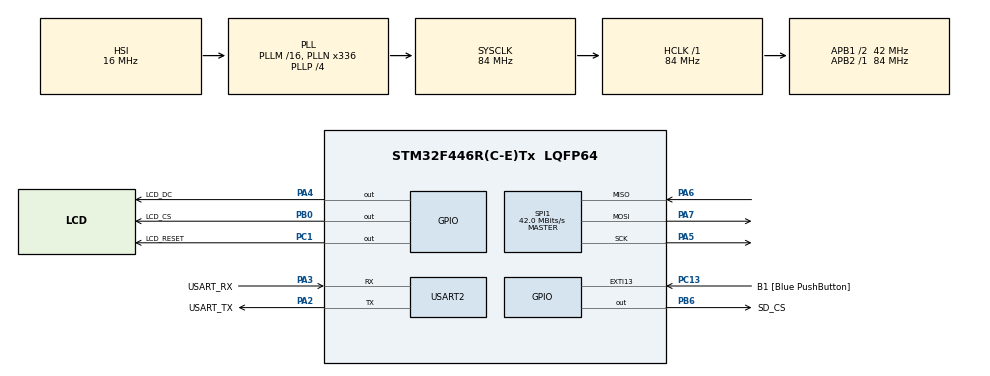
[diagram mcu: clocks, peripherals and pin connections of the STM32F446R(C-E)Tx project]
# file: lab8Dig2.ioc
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Mcu.Family=STM32F4
Mcu.Name=STM32F446R(C-E)Tx
Mcu.Package=LQFP64
NVIC.PriorityGroup=NVIC_PRIORITYGROUP_0
PA13.GPIO_Label=TMS
PA13.Mode=Serial_Wire
PA13.Signal=SYS_JTMS-SWDIO
PA14.GPIO_Label=TCK
PA14.Mode=Serial_Wire
PA14.Signal=SYS_JTCK-SWCLK
PA2.GPIO_Label=USART_TX
PA2.Mode=Asynchronous
PA2.Signal=USART2_TX
PA3.GPIO_Label=USART_RX
PA3.Mode=Asynchronous
PA3.Signal=USART2_RX
PA4.GPIO_Label=LCD_DC
PA4.GPIO_Speed=GPIO_SPEED_FREQ_MEDIUM
PA4.Signal=GPIO_Output
PA5.Mode=Full_Duplex_Master
PA5.Signal=SPI1_SCK
PA6.Mode=Full_Duplex_Master
PA6.Signal=SPI1_MISO
PA7.Mode=Full_Duplex_Master
PA7.Signal=SPI1_MOSI
PB0.GPIO_Label=LCD_CS
PB0.GPIO_Speed=GPIO_SPEED_FREQ_MEDIUM
PB0.Signal=GPIO_Output
PB3.GPIO_Label=SWO
PB3.Signal=SYS_JTDO-SWO
PB6.GPIO_Label=SD_CS
PB6.GPIO_Speed=GPIO_SPEED_FREQ_MEDIUM
PB6.Signal=GPIO_Output
PC1.GPIO_Label=LCD_RESET
PC1.GPIO_Speed=GPIO_SPEED_FREQ_MEDIUM
PC1.Signal=GPIO_Output
PC13.GPIO_Label=B1 [Blue PushButton]
PC13.GPIO_ModeDefaultEXTI=GPIO_MODE_IT_FALLING
PC13.Signal=GPXTI13
PC14-OSC32_IN.Mode=LSE-External-Oscillator
PC14-OSC32_IN.Signal=RCC_OSC32_IN
PC15-OSC32_OUT.Mode=LSE-External-Oscillator
PC15-OSC32_OUT.Signal=RCC_OSC32_OUT
PH0-OSC_IN.Mode=HSE-External-Oscillator
PH0-OSC_IN.Signal=RCC_OSC_IN
PH1-OSC_OUT.Mode=HSE-External-Oscillator
PH1-OSC_OUT.Signal=RCC_OSC_OUT
ProjectManager.HeapSize=0x200
ProjectManager.StackSize=0x400
ProjectManager.TargetToolchain=STM32CubeIDE
RCC.48MHZClocksFreq_Value=84000000
RCC.AHBFreq_Value=84000000
RCC.APB1CLKDivider=RCC_HCLK_DIV2
RCC.APB1Freq_Value=42000000
RCC.APB1TimFreq_Value=84000000
RCC.APB2Freq_Value=84000000
RCC.APB2TimFreq_Value=84000000
RCC.CortexFreq_Value=84000000
RCC.FLatency-AdvancedSettings=FLASH_LATENCY_2
RCC.HCLKFreq_Value=84000000
RCC.HSE_VALUE=8000000
RCC.HSI_VALUE=16000000
RCC.PLLN=336
RCC.PLLP=RCC_PLLP_DIV4
RCC.SYSCLKFreq_VALUE=84000000
RCC.SYSCLKSource=RCC_SYSCLKSOURCE_PLLCLK
RCC.USBFreq_Value=168000000
RCC.VCOOutputFreq_Value=336000000
SPI1.BaudRatePrescaler=SPI_BAUDRATEPRESCALER_2
SPI1.CalculateBaudRate=42.0 MBits/s
SPI1.Direction=SPI_DIRECTION_2LINES
SPI1.Mode=SPI_MODE_MASTER
SPI1.VirtualType=VM_MASTER
USART2.VirtualMode=VM_ASYNC
board=NUCLEO-F446RE

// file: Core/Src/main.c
/* USER CODE BEGIN Header */
/**
 ******************************************************************************
 * @file           : main.c
 * @brief          : Main program body
 ******************************************************************************
 * @attention
 *
 * Copyright (c) 2024 STMicroelectronics.
 * All rights reserved.
 *
 * This software is licensed under terms that can be found in the LICENSE file
 * in the root directory of this software component.
 * If no LICENSE file comes with this software, it is provided AS-IS.
 *
 ******************************************************************************
 */
/* USER CODE END Header */
#include "main.h"

/* USER CODE BEGIN Includes */
#include "ili9341.h"

/* USER CODE END Includes */

SPI_HandleTypeDef hspi1;

UART_HandleTypeDef huart2;

void SystemClock_Config(void);
static void MX_GPIO_Init(void);
static void MX_USART2_UART_Init(void);
static void MX_SPI1_Init(void);

int main(void)
{

  /* MCU Configuration--------------------------------------------------------*/

  /* Reset of all peripherals, Initializes the Flash interface and the Systick. */
  HAL_Init();

  /* Configure the system clock */
  SystemClock_Config();

  /* Initialize all configured peripherals */
  MX_GPIO_Init();
  MX_USART2_UART_Init();
  MX_SPI1_Init();
  /* USER CODE BEGIN 2 */
	LCD_Init(); //inicializar la pantalla

	LCD_Clear(0x0000);  // Fondo negro

	FillRect(0, 0, 320, 28, 0x52ab);

	// x=0, y=0
	// ancho=320, alto=28
	// color=0x52ab: gris

	LCD_Print("OXI-PULSE", 8, 8, 1, 0x07FF, 0x52ab);

	// x=8, y=8
	// tamaño=1
	// color=0x07FF: cian
	// fondo=0x52ab: gris

	FillRect(238, 10, 8, 8, 0x07E0);
	LCD_Print("NORMAL", 250, 8, 1, 0x07E0, 0x52ab);

	LCD_Print("%SpO2", 25, 45, 1, 0xFFFF, 0x0000);
	LCD_Print("98%", 20, 70, 3, 0x07FF, 0x0000);

	LCD_Print("PR", 190, 45, 1, 0xFFFF, 0x0000);
	LCD_Print("72", 185, 70, 3, 0x07E0, 0x0000);
	LCD_Print("BPM", 250, 84, 2, 0xFFFF, 0x0000);

	// Gota
	#define IMAGE_WGOTA  24
	#define IMAGE_HGOTA 20

	// 24 x 20 RGB565, 480 pixels, 960 bytes
	const uint16_t image_gota[] = {
	  0x0000, 0x0000, 0x0000, 0x0000, 0x0000, 0x0000, 0x0000, 0x0000,
	  0x0000, 0x0000, 0x0000, 0x0000, 0x0000, 0x0000, 0x0000, 0x0000,
	  0x0000, 0x0000, 0x0000, 0x0000, 0x0000, 0x0000, 0x0000, 0x0000,
	  0x0000, 0x0000, 0x0000, 0x0000, 0x0000, 0x0000, 0x0000, 0x0000,
	  0x0000, 0x0000, 0x0000, 0x18A2, 0x1082, 0x0000, 0x0000, 0x0000,
	  0x0000, 0x0000, 0x0000, 0x0000, 0x0000, 0x0000, 0x0000, 0x0000,
	  0x0000, 0x0000, 0x0000, 0x0000, 0x0000, 0x0000, 0x0000, 0x0000,
	  0x0000, 0x0000, 0x0000, 0x18C3, 0x10A2, 0x0000, 0x0000, 0x0000,
	  0x0000, 0x0000, 0x0000, 0x0000, 0x0000, 0x0000, 0x0000, 0x0000,
	  0x0000, 0x0000, 0x0000, 0x0000, 0x0000, 0x0000, 0x0000, 0x0000,
	  0x0000, 0x0000, 0x0000, 0x1946, 0x1905, 0x0000, 0x0000, 0x0000,
	  0x0000, 0x0000, 0x0000, 0x0000, 0x0000, 0x0000, 0x0000, 0x0000,
	  0x0000, 0x0000, 0x0000, 0x0000, 0x0000, 0x0000, 0x0000, 0x0000,
	  0x0000, 0x0000, 0x10A2, 0x2BB5, 0x2B32, 0x1082, 0x0000, 0x0000,
	  0x0000, 0x0000, 0x0000, 0x0000, 0x0000, 0x0000, 0x0000, 0x0000,
	  0x0000, 0x0000, 0x0000, 0x0000, 0x0000, 0x0000, 0x0000, 0x0000,
	  0x0000, 0x0000, 0x10A2, 0x2BB5, 0x2B32, 0x1082, 0x0000, 0x0000,
	  0x0000, 0x0000, 0x0000, 0x0000, 0x0000, 0x0000, 0x0000, 0x0000,
	  0x0000, 0x0000, 0x0000, 0x0000, 0x0000, 0x0000, 0x0000, 0x0000,
	  0x0000, 0x10C3, 0x226D, 0x2BF7, 0x2BD6, 0x224D, 0x10A2, 0x0000,
	  0x0000, 0x0000, 0x0000, 0x0000, 0x0000, 0x0000, 0x0000, 0x0000,
	  0x0000, 0x0000, 0x0000, 0x0000, 0x0000, 0x0000, 0x0000, 0x0000,
	  0x0020, 0x2125, 0x2312, 0x2CFA, 0x2CDA, 0x22F1, 0x18E3, 0x0000,
	  0x0000, 0x0000, 0x0000, 0x0000, 0x0000, 0x0000, 0x0000, 0x0000,
	  0x0000, 0x0000, 0x0000, 0x0000, 0x0000, 0x0000, 0x0000, 0x0020,
	  0x1946, 0x2BF7, 0x2D1A, 0x35BC, 0x35BC, 0x2CFA, 0x2B74, 0x1925,
	  0x0000, 0x0000, 0x0000, 0x0000, 0x0000, 0x0000, 0x0000, 0x0000,
	  0x0000, 0x0000, 0x0000, 0x0000, 0x0000, 0x0000, 0x0000, 0x0041,
	  0x2187, 0x2C38, 0x353B, 0x5E1B, 0x55FC, 0x353B, 0x2BD5, 0x2166,
	  0x0020, 0x0000, 0x0000, 0x0000, 0x0000, 0x0000, 0x0000, 0x0000,
	  0x0000, 0x0000, 0x0000, 0x0000, 0x0000, 0x0000, 0x1082, 0x2188,
	  0x2C17, 0x2C79, 0x355B, 0x5E1C, 0x661B, 0x55FC, 0x357C, 0x2C38,
	  0x1925, 0x0861, 0x0000, 0x0000, 0x0000, 0x0000, 0x0000, 0x0000,
	  0x0000, 0x0000, 0x0000, 0x0000, 0x0000, 0x0841, 0x19A9, 0x22D0,
	  0x2C58, 0x35BC, 0x45DC, 0x7E7C, 0x7E7C, 0x6E5C, 0x45DC, 0x34FA,
	  0x22AF, 0x1967, 0x0020, 0x0000, 0x0000, 0x0000, 0x0000, 0x0000,
	  0x0000, 0x0000, 0x0000, 0x0000, 0x0000, 0x1082, 0x22D0, 0x3C78,
	  0x7DBB, 0x35BC, 0x561C, 0x96BD, 0x9EBD, 0x869C, 0x5E1C, 0x35BC,
	  0x2C38, 0x226D, 0x0861, 0x0000, 0x0000, 0x0000, 0x0000, 0x0000,
	  0x0000, 0x0000, 0x0000, 0x0000, 0x0000, 0x1082, 0x22D0, 0x54D9,
	  0xE79F, 0x3DBC, 0x561C, 0x6E3C, 0x6E3C, 0x6E3C, 0x5E1C, 0x35BC,
	  0x2C17, 0x226D, 0x0861, 0x0000, 0x0000, 0x0000, 0x0000, 0x0000,
	  0x0000, 0x0000, 0x0000, 0x0000, 0x0000, 0x0000, 0x10E4, 0x2A0A,
	  0x5D1A, 0xD77E, 0x6E5D, 0x3DDC, 0x3DDC, 0x3DBC, 0x359C, 0x2C79,
	  0x21A8, 0x10A3, 0x0000, 0x0000, 0x0000, 0x0000, 0x0000, 0x0000,
	  0x0000, 0x0000, 0x0000, 0x0000, 0x0000, 0x0000, 0x1081, 0x1967,
	  0x2BB5, 0x4436, 0xA63B, 0xD73E, 0xA6BD, 0x2CFA, 0x2BD6, 0x23B5,
	  0x1905, 0x0841, 0x0000, 0x0000, 0x0000, 0x0000, 0x0000, 0x0000,
	  0x0000, 0x0000, 0x0000, 0x0000, 0x0000, 0x0000, 0x0000, 0x0000,
	  0x10A2, 0x18E3, 0x226E, 0x2333, 0x2353, 0x224D, 0x10C3, 0x10A2,
	  0x0000, 0x0000, 0x0000, 0x0000, 0x0000, 0x0000, 0x0000, 0x0000,
	  0x0000, 0x0000, 0x0000, 0x0000, 0x0000, 0x0000, 0x0000, 0x0000,
	  0x0000, 0x0000, 0x0861, 0x10A2, 0x10A2, 0x0861, 0x0000, 0x0000,
	  0x0000, 0x0000, 0x0000, 0x0000, 0x0000, 0x0000, 0x0000, 0x0000,
	  0x0000, 0x0000, 0x0000, 0x0000, 0x0000, 0x0000, 0x0000, 0x0000,
	  0x0000, 0x0000, 0x0000, 0x0000, 0x0000, 0x0000, 0x0000, 0x0000,
	  0x0000, 0x0000, 0x0000, 0x0000, 0x0000, 0x0000, 0x0000, 0x0000,
	  0x0000, 0x0000, 0x0000, 0x0000, 0x0000, 0x0000, 0x0000, 0x0000,
	  0x0000, 0x0000, 0x0000, 0x0000, 0x0000, 0x0000, 0x0000, 0x0000,
	  0x0000, 0x0000, 0x0000, 0x0000, 0x0000, 0x0000, 0x0000, 0x0000
	};

	LCD_Bitmap(70, 42, IMAGE_WGOTA, IMAGE_HGOTA, image_gota);

	// Corazón
	#define IMAGE_WHEART  24
	#define IMAGE_HHEART 20

	// 24 x 20 RGB565, 480 pixels, 960 bytes
	const uint16_t image_heart[] = {
			0x0000, 0x0000, 0x0000, 0x0000, 0x0000, 0x0000, 0x0000, 0x0000,
			  0x0000, 0x0000, 0x0000, 0x0000, 0x0000, 0x0000, 0x0000, 0x0000,
			  0x0000, 0x0000, 0x0000, 0x0000, 0x0000, 0x0000, 0x0000, 0x0000,
			  0x0000, 0x0000, 0x0000, 0x0000, 0x0000, 0x0000, 0x0000, 0x0000,
			  0x0000, 0x0000, 0x0000, 0x0000, 0x0000, 0x0000, 0x0000, 0x0000,
			  0x0000, 0x0000, 0x0000, 0x0000, 0x0000, 0x0000, 0x0000, 0x0000,
			  0x0000, 0x0000, 0x0000, 0x0000, 0x0000, 0x5002, 0x6803, 0x6803,
			  0x6803, 0x6003, 0x0000, 0x0000, 0x0000, 0x0000, 0x2001, 0x6803,
			  0x6803, 0x5803, 0x3803, 0x0800, 0x0000, 0x0000, 0x0000, 0x0000,
			  0x0000, 0x0000, 0x0000, 0x0800, 0x2801, 0x88E7, 0xA908, 0xA8A7,
			  0xA887, 0xA086, 0x2001, 0x0800, 0x0000, 0x2000, 0x5002, 0xA004,
			  0x9804, 0x8004, 0x5804, 0x2001, 0x1000, 0x0000, 0x0000, 0x0000,
			  0x0000, 0x0000, 0x0000, 0x2001, 0x8804, 0xE310, 0xFB92, 0xFA2D,
			  0xFA0D, 0xF1EC, 0x8804, 0x2001, 0x1000, 0x7803, 0xA804, 0xE004,
			  0xC803, 0xA004, 0x8004, 0x5804, 0x3803, 0x0000, 0x0000, 0x0000,
			  0x0000, 0x0000, 0x3801, 0x6885, 0xCA4D, 0xEACF, 0xFAAF, 0xFA2D,
			  0xF16A, 0xE8C7, 0xB804, 0x7002, 0x5802, 0xB004, 0xC804, 0xE004,
			  0xC803, 0xA804, 0x8804, 0x7804, 0x6003, 0x3002, 0x0800, 0x0000,
			  0x0000, 0x0000, 0x6003, 0xA908, 0xFBF3, 0xFA8F, 0xFA0D, 0xFA0D,
			  0xE8E8, 0xE004, 0xE004, 0xA004, 0x9804, 0xD804, 0xE004, 0xE004,
			  0xC803, 0xA804, 0x8804, 0x8804, 0x7804, 0x5004, 0x1000, 0x0000,
			  0x0000, 0x0000, 0x6003, 0xA086, 0xFA2D, 0xFA0D, 0xF18B, 0xE025,
			  0xE004, 0xE004, 0xE004, 0xE004, 0xE004, 0xE004, 0xE004, 0xE004,
			  0xC803, 0xA804, 0x8804, 0x8804, 0x7804, 0x5004, 0x1000, 0x0000,
			  0x0000, 0x0000, 0x6003, 0xA886, 0xFA0D, 0xF129, 0xE8A7, 0xE004,
			  0xE004, 0xE004, 0xE004, 0xE004, 0xE004, 0xE004, 0xE004, 0xE004,
			  0xC803, 0xA804, 0x8804, 0x8804, 0x7804, 0x5004, 0x1000, 0x0000,
			  0x0000, 0x0000, 0x5802, 0x9866, 0xE9CC, 0xE066, 0xE004, 0xE004,
			  0xE004, 0xE004, 0xE004, 0xE004, 0xE004, 0xE004, 0xE004, 0xE004,
			  0xC003, 0xA004, 0x8804, 0x8004, 0x7004, 0x4803, 0x1000, 0x0000,
			  0x0000, 0x0000, 0x1000, 0x3802, 0xA045, 0xD004, 0xE004, 0xE004,
			  0xE004, 0xE004, 0xE004, 0xE004, 0xE004, 0xE004, 0xD804, 0xC803,
			  0x9804, 0x9004, 0x8004, 0x6004, 0x4803, 0x1000, 0x0000, 0x0000,
			  0x0000, 0x0000, 0x0000, 0x1800, 0x6803, 0xB004, 0xD004, 0xE004,
			  0xE004, 0xE004, 0xE004, 0xE004, 0xE004, 0xD804, 0xC804, 0xB003,
			  0x8804, 0x8004, 0x7804, 0x4803, 0x2802, 0x0000, 0x0000, 0x0000,
			  0x0000, 0x0000, 0x0000, 0x0000, 0x0000, 0x6803, 0x9804, 0xE004,
			  0xE004, 0xE004, 0xE004, 0xE004, 0xE004, 0xC803, 0xB004, 0x8804,
			  0x8804, 0x7004, 0x5003, 0x0800, 0x0000, 0x0000, 0x0000, 0x0000,
			  0x0000, 0x0000, 0x0000, 0x0000, 0x0000, 0x0800, 0x2801, 0x8803,
			  0xC004, 0xE004, 0xE004, 0xD003, 0xC003, 0x9804, 0x9004, 0x8804,
			  0x5804, 0x3002, 0x0800, 0x0000, 0x0000, 0x0000, 0x0000, 0x0000,
			  0x0000, 0x0000, 0x0000, 0x0000, 0x0000, 0x0000, 0x1000, 0x5802,
			  0x9803, 0xC804, 0xD804, 0xB803, 0xA803, 0x9004, 0x8004, 0x7804,
			  0x4003, 0x1801, 0x0000, 0x0000, 0x0000, 0x0000, 0x0000, 0x0000,
			  0x0000, 0x0000, 0x0000, 0x0000, 0x0000, 0x0000, 0x0000, 0x0000,
			  0x4802, 0x9004, 0xC003, 0x9804, 0x8804, 0x8804, 0x7004, 0x5004,
			  0x0800, 0x0000, 0x0000, 0x0000, 0x0000, 0x0000, 0x0000, 0x0000,
			  0x0000, 0x0000, 0x0000, 0x0000, 0x0000, 0x0000, 0x0000, 0x0000,
			  0x1800, 0x4001, 0xA003, 0x9004, 0x8004, 0x6804, 0x5003, 0x2001,
			  0x0000, 0x0000, 0x0000, 0x0000, 0x0000, 0x0000, 0x0000, 0x0000,
			  0x0000, 0x0000, 0x0000, 0x0000, 0x0000, 0x0000, 0x0000, 0x0000,
			  0x0000, 0x0000, 0x8003, 0x8004, 0x8004, 0x5004, 0x3002, 0x0000,
			  0x0000, 0x0000, 0x0000, 0x0000, 0x0000, 0x0000, 0x0000, 0x0000,
			  0x0000, 0x0000, 0x0000, 0x0000, 0x0000, 0x0000, 0x0000, 0x0000,
			  0x0000, 0x0000, 0x0000, 0x3802, 0x4803, 0x0800, 0x0000, 0x0000,
			  0x0000, 0x0000, 0x0000, 0x0000, 0x0000, 0x0000, 0x0000, 0x0000,
			  0x0000, 0x0000, 0x0000, 0x0000, 0x0000, 0x0000, 0x0000, 0x0000,
			  0x0000, 0x0000, 0x0000, 0x1801, 0x1801, 0x0000, 0x0000, 0x0000,
			  0x0000, 0x0000, 0x0000, 0x0000, 0x0000, 0x0000, 0x0000, 0x0000
	};

	LCD_Bitmap(210, 42, IMAGE_WHEART, IMAGE_HHEART, image_heart);

	FillRect(10, 115, 300, 110, 0x0841);
	LCD_Print("ONDA PPG", 18, 122, 1, 0xFFFF, 0x0841);

	FillRect(18, 150, 214, 1, 0x52AB);
	FillRect(18, 180, 214, 1, 0x52AB);
	FillRect(18, 210, 214, 1, 0x52AB);

	LCD_Print("INT.", 260, 122, 1, 0xFFFF, 0x0841);  // Título del indicador

	FillRect(238, 145, 1, 68, 0x52AB);  // Separador vertical

  /* USER CODE END 2 */

	int nivelPulso = 0;  // Nivel simulado: de 0 a 7 barras

	// Altura de cada punto del pulso respecto a la línea base y=180
	const int formaPulso[25] = {
	    0, 0, 2, 8, 18, 26, 29, 28, 26, 23,
	    20, 17, 14, 11, 8, 6, 7, 10, 8, 6,
	    4, 2, 1, 0, 0
	};

	int desplazamiento = 0;  // Posición horizontal del barrido

  /* Infinite loop */
  /* USER CODE BEGIN WHILE */
	while (1) {

		// Borra las posiciones anteriores de la onda
		for (int copia = 0; copia < 3; copia++) {
		    for (int i = 0; i < 25; i++) {
		        int x = 23 + copia * 100 - desplazamiento + i * 4;
		        int y = 180 - formaPulso[i];

		        if (x >= 18 && x <= 228) {
		            FillRect(x, y, 4, 3, 0x0841);
		        }
		    }
		}

		// Restaura la guía central que pudo borrarse junto con la onda
		FillRect(18, 180, 214, 1, 0x52AB);

		// Avanza la onda 4 píxeles hacia la izquierda
		desplazamiento = (desplazamiento + 4) % 100;

		// Fase de intensidad: el máximo coincide con la punta entrando por la derecha
		int faseIntensidad = (desplazamiento + 80) % 100;

		if (faseIntensidad <= 48) {
		    nivelPulso = (7 * (48 - faseIntensidad) + 24) / 48;
		} else {
		    nivelPulso = (7 * (faseIntensidad - 48) + 26) / 52;
		}

		// Dibuja la onda en su nueva posición
		for (int copia = 0; copia < 4; copia++) {
		    for (int i = 0; i < 25; i++) {
		        int x = 23 + copia * 100 - desplazamiento + i * 4;
		        int y = 180 - formaPulso[i];

		        if (x >= 18 && x <= 228) {
		            FillRect(x, y, 4, 3, 0x07FF);
		        }
		    }
		}

		// Barras de abajo hacia arriba: verde, lima, amarillo, naranja y rojo
		FillRect(255, 199, 40, 5, (nivelPulso >= 1) ? 0x07E0 : 0x52AB);
		FillRect(255, 191, 40, 5, (nivelPulso >= 2) ? 0x87E0 : 0x52AB);
		FillRect(255, 183, 40, 5, (nivelPulso >= 3) ? 0xFFE0 : 0x52AB);
		FillRect(255, 175, 40, 5, (nivelPulso >= 4) ? 0xFD20 : 0x52AB);
		FillRect(255, 167, 40, 5, (nivelPulso >= 5) ? 0xF800 : 0x52AB);
		FillRect(255, 159, 40, 5, (nivelPulso >= 6) ? 0xF800 : 0x52AB);
		FillRect(255, 151, 40, 5, (nivelPulso >= 7) ? 0xF800 : 0x52AB);

		HAL_Delay(72);

    /* USER CODE END WHILE */

	}
}

void SystemClock_Config(void)
{
  RCC_OscInitTypeDef RCC_OscInitStruct = {0};
  RCC_ClkInitTypeDef RCC_ClkInitStruct = {0};

  /** Configure the main internal regulator output voltage
  */
  __HAL_RCC_PWR_CLK_ENABLE();
  __HAL_PWR_VOLTAGESCALING_CONFIG(PWR_REGULATOR_VOLTAGE_SCALE3);

  /** Initializes the RCC Oscillators according to the specified parameters
  * in the RCC_OscInitTypeDef structure.
  */
  RCC_OscInitStruct.OscillatorType = RCC_OSCILLATORTYPE_HSI;
  RCC_OscInitStruct.HSIState = RCC_HSI_ON;
  RCC_OscInitStruct.HSICalibrationValue = RCC_HSICALIBRATION_DEFAULT;
  RCC_OscInitStruct.PLL.PLLState = RCC_PLL_ON;
  RCC_OscInitStruct.PLL.PLLSource = RCC_PLLSOURCE_HSI;
  RCC_OscInitStruct.PLL.PLLM = 16;
  RCC_OscInitStruct.PLL.PLLN = 336;
  RCC_OscInitStruct.PLL.PLLP = RCC_PLLP_DIV4;
  RCC_OscInitStruct.PLL.PLLQ = 2;
  RCC_OscInitStruct.PLL.PLLR = 2;
  if (HAL_RCC_OscConfig(&RCC_OscInitStruct) != HAL_OK)
  {
    Error_Handler();
  }

  /** Initializes the CPU, AHB and APB buses clocks
  */
  RCC_ClkInitStruct.ClockType = RCC_CLOCKTYPE_HCLK|RCC_CLOCKTYPE_SYSCLK
                              |RCC_CLOCKTYPE_PCLK1|RCC_CLOCKTYPE_PCLK2;
  RCC_ClkInitStruct.SYSCLKSource = RCC_SYSCLKSOURCE_PLLCLK;
  RCC_ClkInitStruct.AHBCLKDivider = RCC_SYSCLK_DIV1;
  RCC_ClkInitStruct.APB1CLKDivider = RCC_HCLK_DIV2;
  RCC_ClkInitStruct.APB2CLKDivider = RCC_HCLK_DIV1;

  if (HAL_RCC_ClockConfig(&RCC_ClkInitStruct, FLASH_LATENCY_2) != HAL_OK)
  {
    Error_Handler();
  }
}

static void MX_SPI1_Init(void)
{

  /* SPI1 parameter configuration*/
  hspi1.Instance = SPI1;
  hspi1.Init.Mode = SPI_MODE_MASTER;
  hspi1.Init.Direction = SPI_DIRECTION_2LINES;
  hspi1.Init.DataSize = SPI_DATASIZE_8BIT;
  hspi1.Init.CLKPolarity = SPI_POLARITY_LOW;
  hspi1.Init.CLKPhase = SPI_PHASE_1EDGE;
  hspi1.Init.NSS = SPI_NSS_SOFT;
  hspi1.Init.BaudRatePrescaler = SPI_BAUDRATEPRESCALER_2;
  hspi1.Init.FirstBit = SPI_FIRSTBIT_MSB;
  hspi1.Init.TIMode = SPI_TIMODE_DISABLE;
  hspi1.Init.CRCCalculation = SPI_CRCCALCULATION_DISABLE;
  hspi1.Init.CRCPolynomial = 10;
  if (HAL_SPI_Init(&hspi1) != HAL_OK)
  {
    Error_Handler();
  }

}

static void MX_USART2_UART_Init(void)
{

  huart2.Instance = USART2;
  huart2.Init.BaudRate = 115200;
  huart2.Init.WordLength = UART_WORDLENGTH_8B;
  huart2.Init.StopBits = UART_STOPBITS_1;
  huart2.Init.Parity = UART_PARITY_NONE;
  huart2.Init.Mode = UART_MODE_TX_RX;
  huart2.Init.HwFlowCtl = UART_HWCONTROL_NONE;
  huart2.Init.OverSampling = UART_OVERSAMPLING_16;
  if (HAL_UART_Init(&huart2) != HAL_OK)
  {
    Error_Handler();
  }

}

static void MX_GPIO_Init(void)
{
  GPIO_InitTypeDef GPIO_InitStruct = {0};

  /* GPIO Ports Clock Enable */
  __HAL_RCC_GPIOC_CLK_ENABLE();
  __HAL_RCC_GPIOH_CLK_ENABLE();
  __HAL_RCC_GPIOA_CLK_ENABLE();
  __HAL_RCC_GPIOB_CLK_ENABLE();

  /*Configure GPIO pin Output Level */
  HAL_GPIO_WritePin(LCD_RESET_GPIO_Port, LCD_RESET_Pin, GPIO_PIN_RESET);

  /*Configure GPIO pin Output Level */
  HAL_GPIO_WritePin(LCD_DC_GPIO_Port, LCD_DC_Pin, GPIO_PIN_RESET);

  /*Configure GPIO pin Output Level */
  HAL_GPIO_WritePin(GPIOB, LCD_CS_Pin|SD_CS_Pin, GPIO_PIN_RESET);

  /*Configure GPIO pin : B1_Pin */
  GPIO_InitStruct.Pin = B1_Pin;
  GPIO_InitStruct.Mode = GPIO_MODE_IT_FALLING;
  GPIO_InitStruct.Pull = GPIO_NOPULL;
  HAL_GPIO_Init(B1_GPIO_Port, &GPIO_InitStruct);

  /*Configure GPIO pin : LCD_RESET_Pin */
  GPIO_InitStruct.Pin = LCD_RESET_Pin;
  GPIO_InitStruct.Mode = GPIO_MODE_OUTPUT_PP;
  GPIO_InitStruct.Pull = GPIO_NOPULL;
  GPIO_InitStruct.Speed = GPIO_SPEED_FREQ_MEDIUM;
  HAL_GPIO_Init(LCD_RESET_GPIO_Port, &GPIO_InitStruct);

  /*Configure GPIO pin : LCD_DC_Pin */
  GPIO_InitStruct.Pin = LCD_DC_Pin;
  GPIO_InitStruct.Mode = GPIO_MODE_OUTPUT_PP;
  GPIO_InitStruct.Pull = GPIO_NOPULL;
  GPIO_InitStruct.Speed = GPIO_SPEED_FREQ_MEDIUM;
  HAL_GPIO_Init(LCD_DC_GPIO_Port, &GPIO_InitStruct);

  /*Configure GPIO pins : LCD_CS_Pin SD_CS_Pin */
  GPIO_InitStruct.Pin = LCD_CS_Pin|SD_CS_Pin;
  GPIO_InitStruct.Mode = GPIO_MODE_OUTPUT_PP;
  GPIO_InitStruct.Pull = GPIO_NOPULL;
  GPIO_InitStruct.Speed = GPIO_SPEED_FREQ_MEDIUM;
  HAL_GPIO_Init(GPIOB, &GPIO_InitStruct);

}

void Error_Handler(void)
{
	__disable_irq();
	while (1) {
	}
}
